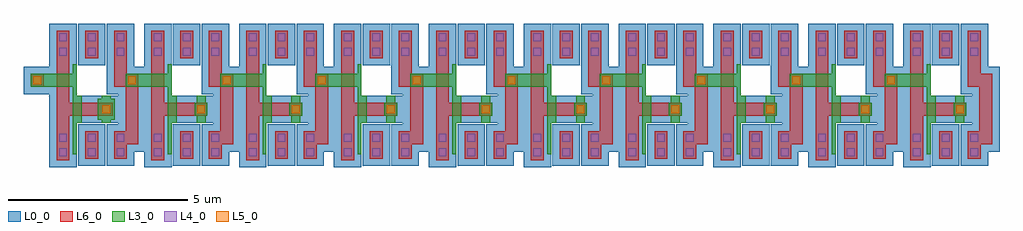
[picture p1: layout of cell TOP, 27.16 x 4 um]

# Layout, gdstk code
import gdstk
lib = gdstk.Library(unit=1e-6, precision=1e-09)
def R(c, l, rs):  # rectangles x0, y0, x1, y1
    for r in rs: c.add(gdstk.rectangle(r[:2], r[2:], *l))
def P(c, l, *ps):  # polygons
    for p in ps: c.add(gdstk.Polygon(p, *l))
L0_0 = (0, 0)
L3_0 = (3, 0)
L4_0 = (4, 0)
L5_0 = (5, 0)
L6_0 = (6, 0)

facet = lib.new_cell('FACET')
R(facet, L0_0, [(-0.2,-0.2,0.56,0.96)])
R(facet, L4_0, [(0.07,0.07,0.29,0.29), (0.07,0.07,0.29,0.29), (0.07,0.47,0.29,0.69), (0.07,0.47,0.29,0.69)])
R(facet, L6_0, [(0,0,0.36,0.76)])
facet.add(gdstk.Label('FACET #1', (0.18,0.38), layer=0, texttype=0))

facet_1 = lib.new_cell('FACET$1')
R(facet_1, L0_0, [(-0.2,-0.2,0.56,0.56)])
R(facet_1, L3_0, [(0,0,0.56,0.36)])
R(facet_1, L5_0, [(0.07,0.07,0.29,0.29)])
R(facet_1, L6_0, [(0,0,0.36,0.36)])
facet_1.add(gdstk.Label('FACET #2', (0.18,0.18), layer=0, texttype=0))

facet_2 = lib.new_cell('FACET$2')
P(facet_2, L0_0, [(-0.2,-0.2),(-0.2,3.8),(0.56,3.8),(0.56,1.8),(1.76,1.8),(1.76,1.04),(0.56,1.04),(0.56,-0.2)])
P(facet_2, L3_0, [(1.255,1.04),(1.255,1.12),(1.14,1.12),(1.14,1.71),(1.255,1.71),(1.255,1.8),(1.505,1.8),(1.505,1.71),(1.62,1.71),(1.62,1.12),(1.505,1.12),(1.505,1.04)],
  [(0.455,0.17),(0.455,2.04),(-0.2,2.04),(-0.2,2.4),(0.455,2.4),(0.455,2.67),(0.56,2.67),(0.56,1.8),(0.705,1.8),(0.705,1.04),(0.56,1.04),(0.56,0.17)])
R(facet_2, L4_0, [(0.07,0.11,0.29,0.33), (0.07,0.51,0.29,0.73), (0.07,2.91,0.29,3.13), (0.07,3.31,0.29,3.53)])
R(facet_2, L5_0, [(1.27,1.31,1.49,1.53)])
P(facet_2, L6_0, [(0,0),(0,3.6),(0.36,3.6),(0.36,1.6),(1.56,1.6),(1.56,1.24),(0.36,1.24),(0.36,0)])
facet_2.add(gdstk.Label('FACET #3', (0.78,1.8), layer=0, texttype=0))

facet_3 = lib.new_cell('FACET$3')
P(facet_3, L0_0, [(-0.2,-0.2),(-0.2,0.96),(0.12,0.96),(0.12,1.8),(-0.2,1.8),(-0.2,3.76),(0.56,3.76),(0.56,2.56),(0.88,2.56),(0.88,0.2),(0.56,0.2),(0.56,-0.2)])
R(facet_3, L3_0, [(0.32,2,0.88,2.36)])
R(facet_3, L4_0, [(0.07,0.07,0.29,0.29), (0.07,0.47,0.29,0.69), (0.07,2.87,0.29,3.09), (0.07,3.27,0.29,3.49)])
R(facet_3, L5_0, [(0.39,2.07,0.61,2.29)])
P(facet_3, L6_0, [(0,0),(0,0.76),(0.32,0.76),(0.32,2),(0,2),(0,3.56),(0.36,3.56),(0.36,2.36),(0.68,2.36),(0.68,0.4),(0.36,0.4),(0.36,0)])
facet_3.add(gdstk.Label('FACET #4', (0.34,1.78), layer=0, texttype=0))

facet_4 = lib.new_cell('FACET$4')
P(facet_4, L0_0, [(-0.2,-0.2),(-0.2,3.8),(0.56,3.8),(0.56,1.8),(1.76,1.8),(1.76,1.04),(0.56,1.04),(0.56,-0.2)])
P(facet_4, L3_0, [(1.255,1.04),(1.255,1.24),(1.2,1.24),(1.2,1.6),(1.255,1.6),(1.255,1.8),(1.505,1.8),(1.505,1.6),(1.56,1.6),(1.56,1.24),(1.505,1.24),(1.505,1.04)],
  [(0.455,0.17),(0.455,2.04),(-0.2,2.04),(-0.2,2.4),(0.455,2.4),(0.455,2.67),(0.56,2.67),(0.56,1.8),(0.705,1.8),(0.705,1.04),(0.56,1.04),(0.56,0.17)])
R(facet_4, L4_0, [(0.07,0.11,0.29,0.33), (0.07,0.51,0.29,0.73), (0.07,2.91,0.29,3.13), (0.07,3.31,0.29,3.53)])
R(facet_4, L5_0, [(1.27,1.31,1.49,1.53)])
P(facet_4, L6_0, [(0,0),(0,3.6),(0.36,3.6),(0.36,1.6),(1.56,1.6),(1.56,1.24),(0.36,1.24),(0.36,0)])
facet_4.add(gdstk.Label('FACET #5', (0.78,1.8), layer=0, texttype=0))

facet_5 = lib.new_cell('FACET$5')
P(facet_5, L0_0, [(-0.2,-0.2),(-0.2,0.96),(0.12,0.96),(0.12,1.8),(-0.2,1.8),(-0.2,3.76),(0.56,3.76),(0.56,2.56),(0.88,2.56),(0.88,0.2),(0.56,0.2),(0.56,-0.2)])
R(facet_5, L4_0, [(0.07,0.07,0.29,0.29), (0.07,0.47,0.29,0.69), (0.07,2.87,0.29,3.09), (0.07,3.27,0.29,3.49)])
P(facet_5, L6_0, [(0,0),(0,0.76),(0.32,0.76),(0.32,2),(0,2),(0,3.56),(0.36,3.56),(0.36,2.36),(0.68,2.36),(0.68,0.4),(0.36,0.4),(0.36,0)])
facet_5.add(gdstk.Label('FACET #6', (0.34,1.78), layer=0, texttype=0))

top = lib.new_cell('TOP')
top.add(gdstk.Reference(facet, (-0.18,-0.38)))
top.add(gdstk.Reference(facet, (2.46,-0.38)))
top.add(gdstk.Reference(facet, (5.1,-0.38)))
top.add(gdstk.Reference(facet, (7.74,-0.38)))
top.add(gdstk.Reference(facet, (10.38,-0.38)))
top.add(gdstk.Reference(facet, (13.02,-0.38)))
top.add(gdstk.Reference(facet, (15.66,-0.38)))
top.add(gdstk.Reference(facet, (18.3,-0.38)))
top.add(gdstk.Reference(facet, (20.94,-0.38)))
top.add(gdstk.Reference(facet, (23.58,-0.38)))
top.add(gdstk.Reference(facet, (-0.18,2.42)))
top.add(gdstk.Reference(facet, (2.46,2.42)))
top.add(gdstk.Reference(facet, (5.1,2.42)))
top.add(gdstk.Reference(facet, (7.74,2.42)))
top.add(gdstk.Reference(facet, (10.38,2.42)))
top.add(gdstk.Reference(facet, (13.02,2.42)))
top.add(gdstk.Reference(facet, (15.66,2.42)))
top.add(gdstk.Reference(facet, (18.3,2.42)))
top.add(gdstk.Reference(facet, (20.94,2.42)))
top.add(gdstk.Reference(facet, (23.58,2.42)))
top.add(gdstk.Reference(facet_1, (-1.7,1.62)))
top.add(gdstk.Reference(facet_2, (-0.98,-0.42)))
top.add(gdstk.Reference(facet_3, (0.62,-0.38)))
top.add(gdstk.Reference(facet_3, (3.26,-0.38)))
top.add(gdstk.Reference(facet_3, (5.9,-0.38)))
top.add(gdstk.Reference(facet_3, (8.54,-0.38)))
top.add(gdstk.Reference(facet_3, (11.18,-0.38)))
top.add(gdstk.Reference(facet_3, (13.82,-0.38)))
top.add(gdstk.Reference(facet_3, (16.46,-0.38)))
top.add(gdstk.Reference(facet_3, (19.1,-0.38)))
top.add(gdstk.Reference(facet_3, (21.74,-0.38)))
top.add(gdstk.Reference(facet_4, (1.66,-0.42)))
top.add(gdstk.Reference(facet_4, (4.3,-0.42)))
top.add(gdstk.Reference(facet_4, (6.94,-0.42)))
top.add(gdstk.Reference(facet_4, (9.58,-0.42)))
top.add(gdstk.Reference(facet_4, (12.22,-0.42)))
top.add(gdstk.Reference(facet_4, (14.86,-0.42)))
top.add(gdstk.Reference(facet_4, (17.5,-0.42)))
top.add(gdstk.Reference(facet_4, (20.14,-0.42)))
top.add(gdstk.Reference(facet_4, (22.78,-0.42)))
top.add(gdstk.Reference(facet_5, (24.38,-0.38)))

lib.write_gds('TOP.gds')
